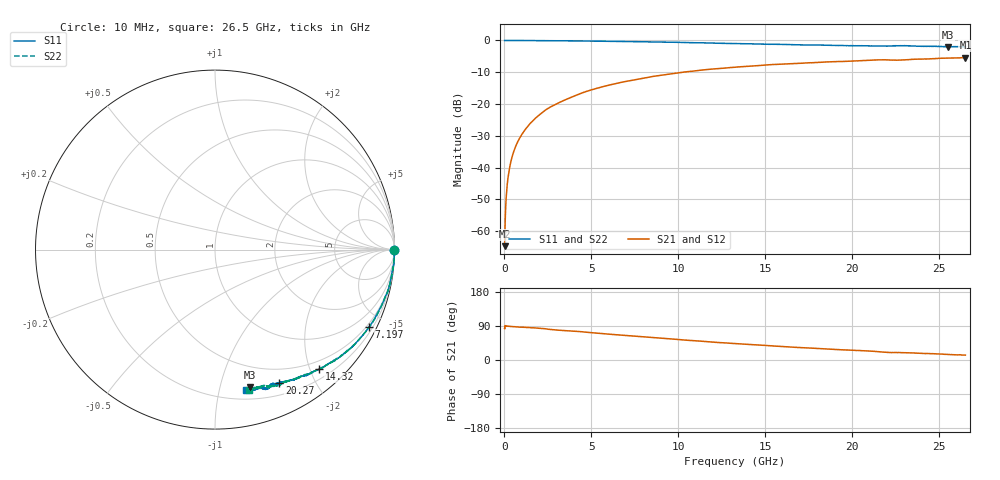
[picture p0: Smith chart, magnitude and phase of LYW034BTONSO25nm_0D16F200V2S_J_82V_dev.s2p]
!Keysight Technologies,N5222B,MY61253708,A.15.00.15
!Date: Wednesday, June 19, 2024 09:26:15
!Correction: S11(C  2-Port  )
!S21(C  2-Port  )
!S12(C  2-Port  )
!S22(C  2-Port  )
!S2P File: Measurements: S11, S21, S12, S22:
# Hz S  RI  R 50
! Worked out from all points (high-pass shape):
!   2651 points, 10 MHz to 26.5 GHz, reference 50 ohm
!   highest |S21| = -5.37 dB at 26.5 GHz (marker M1); lowest = -64.7 dB at 10 MHz (marker M2)
!   |S21| within 3 dB of the highest: 13.38 GHz to end of sweep
!   lowest |S11| = -2.0 dB at 25.5 GHz (marker M3), VSWR 8.60, Z = 15.1 - j62 ohm
!   |S11| at or under -10 dB: nowhere
!   |S22| runs from -1.9 to 0.0 dB; largest |S21 - S12| = 0.007
!   S11 on the Smith chart (normalised r, x): 10 MHz: open; 7.197 GHz: 0.37, -4.19; 14.32 GHz: 0.35, -2.15; 20.27 GHz: 0.33, -1.54; 26.5 GHz: 0.28, -1.21
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1e7  0.9988 -0.00255  6.92e-05 0.000576  0.000137 0.000515  0.9984 -0.00106
6.997736e7  1 -0.0052  3e-05 0.00235  3.67e-05 0.00237  0.9997 -0.00484
1.699396e8  0.9998 -0.012  8.38e-05 0.00571  5.92e-05 0.00574  0.9996 -0.0112
2.199208e8  0.9998 -0.0154  0.00012 0.00736  0.000119 0.00743  0.9993 -0.0144
2.898943e8  0.9997 -0.0202  0.000213 0.00972  0.000198 0.00977  0.9996 -0.0193
3.998528e8  0.9991 -0.0277  0.000351 0.0134  0.000421 0.0135  0.9993 -0.0265
5.298038e8  0.9989 -0.0359  0.000605 0.0177  0.000642 0.0179  0.9989 -0.0351
8.896679e8  0.9976 -0.0603  0.00172 0.0295  0.00173 0.0298  0.997 -0.0588
1.489442e9  0.99 -0.1014  0.00421 0.0498  0.00422 0.0501  0.9929 -0.0975
2.359113e9  0.9811 -0.1556  0.0106 0.0797  0.0109 0.0803  0.9827 -0.155
3.208792e9  0.9693 -0.2101  0.0217 0.1051  0.022 0.1059  0.9699 -0.2084
4.428332e9  0.9407 -0.2835  0.0394 0.143  0.0399 0.1441  0.9429 -0.2798
7.197287e9  0.8585 -0.4313  0.1024 0.2094  0.1038 0.2101  0.8607 -0.4291
8.846664e9  0.7979 -0.5055  0.1477 0.2379  0.1494 0.2387  0.8007 -0.5026
1.3255e10  0.6199 -0.6439  0.2759 0.2608  0.2785 0.2605  0.6256 -0.6415
1.43246e10  0.5793 -0.6666  0.3029 0.2567  0.3055 0.2567  0.5846 -0.6628
1.767333e10  0.4468 -0.7208  0.3817 0.2316  0.3856 0.2297  0.4599 -0.718
2.027235e10  0.3591 -0.7447  0.4324 0.2038  0.4353 0.2008  0.3789 -0.7453
2.209166e10  0.312 -0.7513  0.4635 0.1687  0.4657 0.1654  0.3087 -0.7581
2.308129e10  0.2832 -0.7794  0.4684 0.1645  0.4697 0.1632  0.286 -0.7609
2.550038e10  0.194 -0.7676  0.5117 0.1316  0.5136 0.131  0.2166 -0.7719
2.65e10  0.1751 -0.7821  0.5252 0.1206  0.5249 0.1164  0.1901 -0.7815
